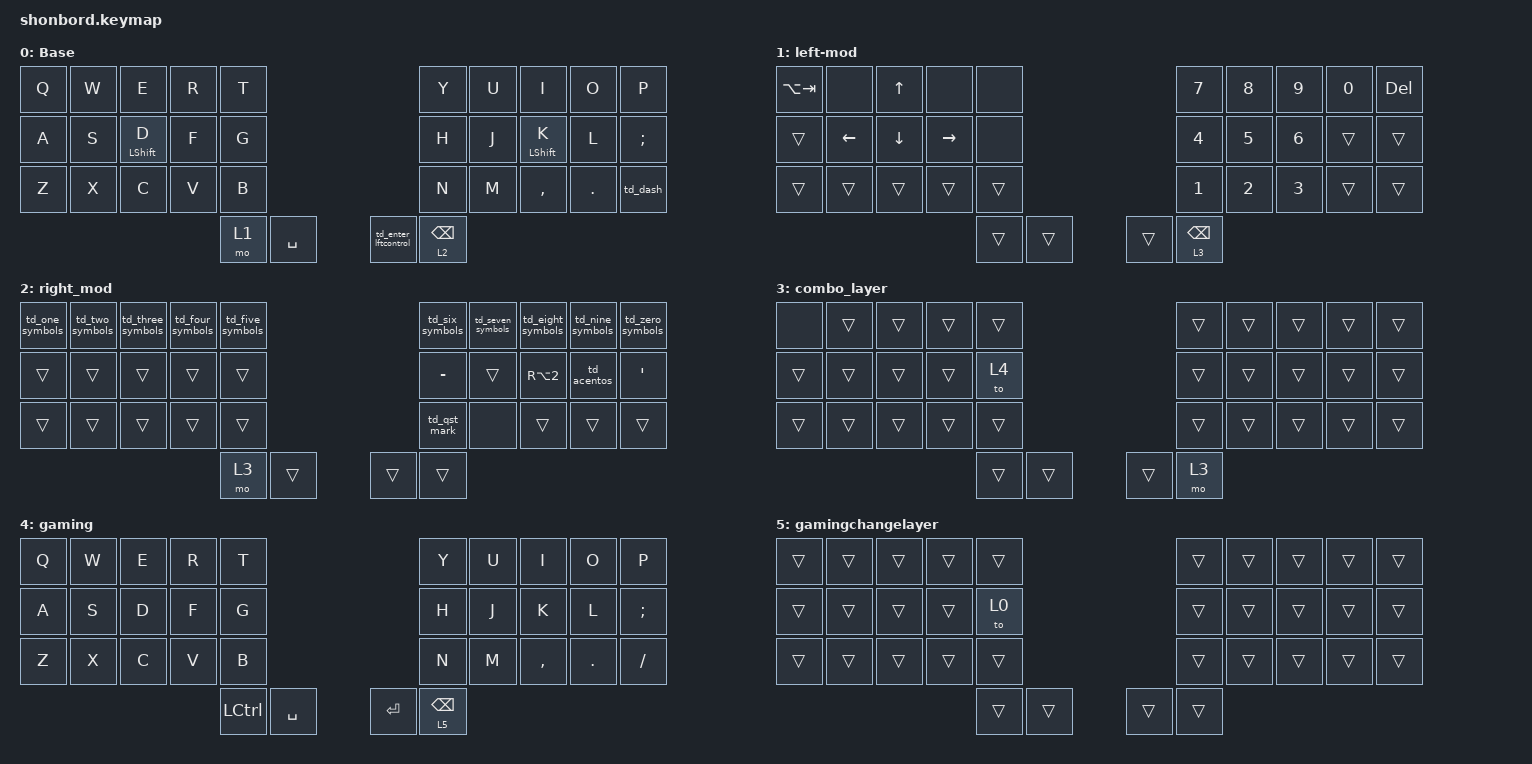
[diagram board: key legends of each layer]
#include <behaviors.dtsi>
#include <dt-bindings/zmk/keys.h>

/ {
    behaviors {
        td_qst_mark: td_qst_mark {
            compatible = "zmk,behavior-tap-dance";
            label = "QuestionMarks";
            #binding-cells = <0>;
            bindings = <&kp LS(MINUS)>, <&kp LS(EQUAL)>;

            tapping-term-ms = <250>;
        };

        td_two_symbols: td_two_symbols {
            compatible = "zmk,behavior-tap-dance";
            label = "TD_TWO_SYMBOLS";
            #binding-cells = <0>;
            bindings = <&kp LS(NUMBER_2)>, <&kp RA(NUMBER_2)>;

            tapping-term-ms = <250>;
        };

        td_one_symbols: td_one_symbols {
            compatible = "zmk,behavior-tap-dance";
            label = "TD_ONE_SYMBOLS";
            #binding-cells = <0>;
            bindings = <&kp LS(NUMBER_1)>, <&kp RA(NUMBER_1)>;

            tapping-term-ms = <250>;
        };

        td_three_symbols: td_three_symbols {
            compatible = "zmk,behavior-tap-dance";
            label = "TD_THREE_SYMBOLS";
            #binding-cells = <0>;
            bindings = <&kp LS(NUMBER_3)>, <&kp RA(NUMBER_3)>;
        };

        td_four_symbols: td_four_symbols {
            compatible = "zmk,behavior-tap-dance";
            label = "TD_FOUR_SYMBOLS";
            #binding-cells = <0>;
            bindings = <&kp LS(NUMBER_4)>, <&kp RA(NUMBER_4)>;

            tapping-term-ms = <250>;
        };

        td_five_symbols: td_five_symbols {
            compatible = "zmk,behavior-tap-dance";
            label = "TD_FIVE_SYMBOLS";
            #binding-cells = <0>;
            bindings = <&kp N5>, <&kp LS(N5)>;

            tapping-term-ms = <250>;
        };

        td_six_symbols: td_six_symbols {
            compatible = "zmk,behavior-tap-dance";
            label = "TD_SIX_SYMBOLS";
            #binding-cells = <0>;
            bindings = <&kp LS(NUMBER_6)>, <&kp RA(NUMBER_6)>;

            tapping-term-ms = <250>;
        };

        td_seven_symbols: td_seven_symbols {
            compatible = "zmk,behavior-tap-dance";
            label = "TD_SEVEN_SYMBOLS";
            #binding-cells = <0>;
            bindings = <&kp N7>, <&kp LS(N7)>;

            tapping-term-ms = <250>;
        };

        td_eight_symbols: td_eight_symbols {
            compatible = "zmk,behavior-tap-dance";
            label = "TD_EIGHT_SYMBOLS";
            #binding-cells = <0>;
            bindings = <&kp N8>, <&kp LS(N8)>;

            tapping-term-ms = <250>;
        };

        td_nine_symbols: td_nine_symbols {
            compatible = "zmk,behavior-tap-dance";
            label = "TD_NINE_SYMBOLS";
            #binding-cells = <0>;
            bindings = <&kp N9>, <&kp LS(N9)>;

            tapping-term-ms = <250>;
        };

        td_zero_symbols: td_zero_symbols {
            compatible = "zmk,behavior-tap-dance";
            label = "TD_ZERO_SYMBOLS";
            #binding-cells = <0>;
            bindings = <&kp N0>, <&kp LS(N0)>;

            tapping-term-ms = <250>;
        };

        td_acentos: td_acentos {
            compatible = "zmk,behavior-tap-dance";
            label = "TD_ACENTOS";
            #binding-cells = <0>;
            bindings = <&kp SINGLE_QUOTE>, <&kp LEFT_BRACKET>;

            tapping-term-ms = <250>;
        };

        td_dash: td_dash {
            compatible = "zmk,behavior-tap-dance";
            label = "TD_DASH";
            #binding-cells = <0>;
            bindings = <&kp SLASH>, <&kp LS(SLASH)>;

            tapping-term-ms = <250>;
        };

        td_enter_lftcontrol: td_enter_lftcontrol {
            compatible = "zmk,behavior-tap-dance";
            label = "TD_ENTER_LFTCONTROL";
            #binding-cells = <0>;
            bindings = <&kp ENTER>, <&kp LEFT_CONTROL>;

            tapping-term-ms = <250>;
        };
    };

    combos {
        compatible = "zmk,combos";

        QWE_Escape {
            bindings = <&kp ESCAPE>;
            key-positions = <0 1 2>;
        };

        IOP_Windows {
            bindings = <&kp LEFT_WIN>;
            key-positions = <8 7>;
        };

        qwe-tab {
            bindings = <&kp TAB>;
            key-positions = <3 4>;
        };

        ji_control {
            bindings = <&kp LEFT_CONTROL>;
            key-positions = <16 7>;
        };

        hu_alt {
            bindings = <&kp LEFT_ALT>;
            key-positions = <15 6>;
        };

        gr_tab {
            bindings = <&kp TAB>;
            key-positions = <3 2>;
        };
    };

    keymap {
        compatible = "zmk,keymap";

        base {
            display-name = "Base";
            bindings = <
&kp Q  &kp W  &kp E             &kp R  &kp T                                     &kp Y            &kp U  &kp I             &kp O       &kp P
&kp A  &kp S  &mt LEFT_SHIFT D  &kp F  &kp G                                     &kp H            &kp J  &mt LEFT_SHIFT K  &kp L       &kp SEMICOLON
&kp Z  &kp X  &kp C             &kp V  &kp B                                     &kp N            &kp M  &kp COMMA         &kp PERIOD  &td_dash
                                       &mo 1  &kp SPACE    &td_enter_lftcontrol  &lt 2 BACKSPACE
            >;
        };

        left-mod {
            bindings = <
&kp LA(TAB)  &none           &kp UP_ARROW    &none            &none                     &kp N7           &kp N8        &kp N9        &kp N0  &kp DELETE
&trans       &kp LEFT_ARROW  &kp DOWN_ARROW  &kp RIGHT_ARROW  &none                     &kp NUMBER_4     &kp N5        &kp NUMBER_6  &trans  &trans
&trans       &trans          &trans          &trans           &trans                    &kp NUMBER_1     &kp NUMBER_2  &kp NUMBER_3  &trans  &trans
                                                              &trans  &trans    &trans  &lt 3 BACKSPACE
            >;
        };

        right_mod {
            bindings = <
&td_one_symbols  &td_two_symbols  &td_three_symbols  &td_four_symbols  &td_five_symbols                    &td_six_symbols  &td_seven_symbols  &td_eight_symbols  &td_nine_symbols  &td_zero_symbols
&trans           &trans           &trans             &trans            &trans                              &kp MINUS        &trans             &kp RA(NUMBER_2)   &td_acentos       &kp SINGLE_QUOTE
&trans           &trans           &trans             &trans            &trans                              &td_qst_mark     &none              &trans             &trans            &trans
                                                                       &mo 3             &trans    &trans  &trans
            >;
        };

        combo_layer {
            bindings = <
&none   &trans  &trans  &trans  &trans                    &trans  &trans  &trans  &trans  &trans
&trans  &trans  &trans  &trans  &to 4                     &trans  &trans  &trans  &trans  &trans
&trans  &trans  &trans  &trans  &trans                    &trans  &trans  &trans  &trans  &trans
                                &trans  &trans    &trans  &mo 3
            >;
        };

        gaming {
            bindings = <
&kp Q  &kp W  &kp E  &kp R  &kp T                                     &kp Y            &kp U  &kp I      &kp O       &kp P
&kp A  &kp S  &kp D  &kp F  &kp G                                     &kp H            &kp J  &kp K      &kp L       &kp SEMICOLON
&kp Z  &kp X  &kp C  &kp V  &kp B                                     &kp N            &kp M  &kp COMMA  &kp PERIOD  &kp SLASH
                            &kp LEFT_CONTROL  &kp SPACE    &kp ENTER  &lt 5 BACKSPACE
            >;
        };

        gamingchangelayer {
            bindings = <
&trans  &trans  &trans  &trans  &trans                    &trans  &trans  &trans  &trans  &trans
&trans  &trans  &trans  &trans  &to 0                     &trans  &trans  &trans  &trans  &trans
&trans  &trans  &trans  &trans  &trans                    &trans  &trans  &trans  &trans  &trans
                                &trans  &trans    &trans  &trans
            >;
        };
    };
};
